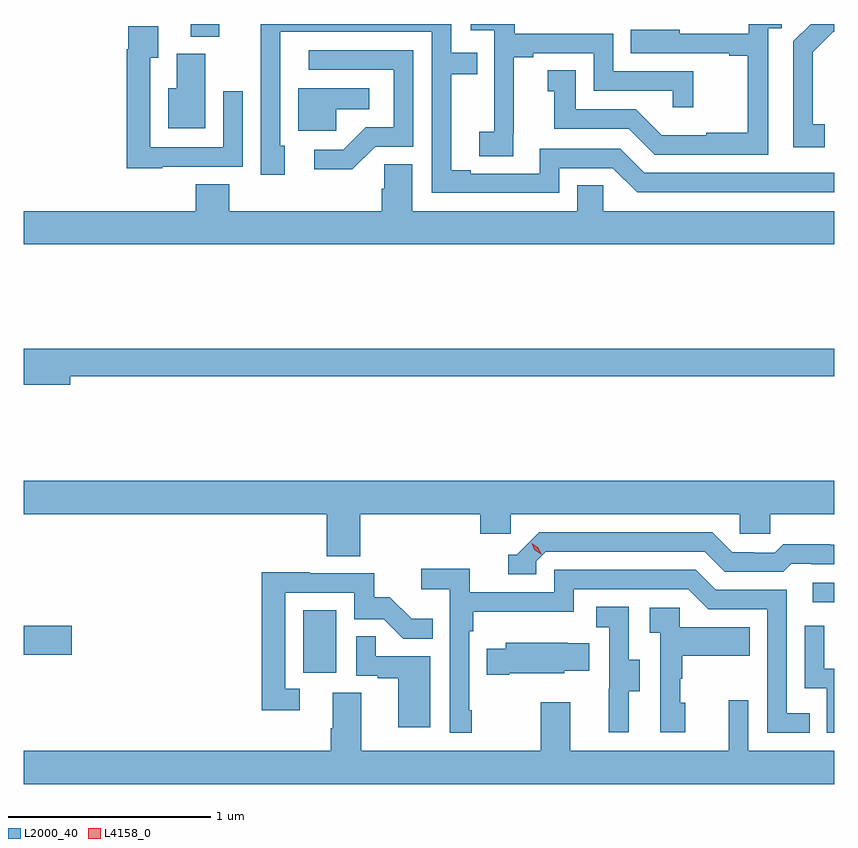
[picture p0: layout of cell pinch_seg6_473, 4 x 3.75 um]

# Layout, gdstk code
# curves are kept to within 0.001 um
import gdstk
lib = gdstk.Library(unit=1e-6, precision=1e-09)
def R(c, l, rs):  # rectangles x0, y0, x1, y1
    for r in rs: c.add(gdstk.rectangle(r[:2], r[2:], *l))
def P(c, l, *ps):  # polygons
    for p in ps: c.add(gdstk.Polygon(p, *l))
L2000_40 = (2000, 40)
L4158_0 = (4158, 0)

pinch_seg6_473 = lib.new_cell('pinch_seg6_473')
R(pinch_seg6_473, L2000_40, [(832.652,926.574,832.816,926.881), (831.273,926.662,831.511,926.804), (835.167,926.922,835.273,927.018), (832.097,929.713,832.237,929.775)])
P(pinch_seg6_473, L2000_40, [(833.916,929.064),(834.18,929.064),(834.3,928.944),(835.273,928.944),(835.273,929.04),(834.336,929.04),(834.216,929.16),(833.82,929.16),(833.82,929.037),(833.479,929.037),(833.479,929.052),(833.383,929.052),(833.383,929.526),(833.51,929.526),(833.51,929.634),(833.382,929.634),(833.382,929.775),(832.442,929.775),(832.443,929.031),(832.561,929.031),(832.561,929.175),(832.539,929.175),(832.539,929.736),(833.286,929.736),(833.286,928.941),(833.916,928.941)],
  [(833.69,929.233),(833.692,929.233),(833.692,929.611),(833.788,929.611),(833.788,929.631),(834.087,929.631),(834.087,929.445),(834.477,929.445),(834.477,929.364),(834.578,929.364),(834.578,929.541),(834.183,929.541),(834.183,929.727),(833.696,929.727),(833.696,929.775),(833.478,929.775),(833.478,929.745),(833.595,929.745),(833.595,929.441),(833.594,929.441),(833.594,929.244),(833.52,929.244),(833.52,929.122),(833.69,929.122)],
  [(835.226,929.279),(835.168,929.279),(835.168,929.635),(835.269,929.736),(835.273,929.736),(835.273,929.775),(835.156,929.775),(835.071,929.69),(835.071,929.166),(835.226,929.166)],
  [(834.948,929.753),(835.013,929.753),(835.013,929.775),(834.852,929.775),(834.852,929.727),(834.511,929.727),(834.511,929.746),(834.268,929.746),(834.268,929.631),(834.755,929.631),(834.755,929.619),(834.847,929.619),(834.847,929.239),(834.641,929.239),(834.641,929.227),(834.422,929.227),(834.294,929.355),(833.998,929.355),(833.998,929.546),(833.858,929.546),(833.858,929.443),(833.891,929.443),(833.891,929.259),(834.258,929.259),(834.387,929.13),(834.948,929.13)],
  [(831.957,929.07),(832.353,929.07),(832.353,929.443),(832.257,929.443),(832.257,929.166),(831.897,929.166),(831.897,929.608),(831.937,929.608),(831.937,929.764),(831.789,929.764),(831.789,929.651),(831.781,929.651),(831.781,929.063),(831.957,929.063)],
  [(833.007,929.169),(833.196,929.169),(833.196,929.646),(832.68,929.646),(832.68,929.55),(833.1,929.55),(833.1,929.265),(832.962,929.265),(832.851,929.154),(832.707,929.154),(832.707,929.057),(832.894,929.057)],
  [(832.168,929.628),(832.028,929.628),(832.028,929.458),(831.986,929.458),(831.986,929.261),(832.168,929.261)],
  [(832.815,929.354),(832.978,929.354),(832.978,929.458),(832.628,929.458),(832.628,929.247),(832.815,929.247)],
  [(835.273,928.852),(834.132,928.852),(834.132,928.979),(834.005,928.979),(834.005,928.852),(833.191,928.852),(833.191,929.084),(833.052,929.084),(833.052,928.961),(833.039,928.961),(833.039,928.852),(832.286,928.852),(832.286,928.985),(832.121,928.985),(832.121,928.852),(831.273,928.852),(831.273,928.688),(835.273,928.688)],
  [(831.502,928.036),(835.273,928.036),(835.273,928.172),(831.273,928.172),(831.273,927.994),(831.502,927.994)],
  [(832.934,927.356),(833.525,927.356),(833.525,927.258),(833.676,927.258),(833.676,927.356),(834.807,927.356),(834.807,927.258),(834.957,927.258),(834.957,927.356),(835.273,927.356),(835.273,927.52),(831.273,927.52),(831.273,927.356),(832.769,927.356),(832.769,927.148),(832.934,927.148)],
  [(833.802,927.123),(833.85,927.171),(834.633,927.171),(834.732,927.072),(835.021,927.072),(835.06,927.111),(835.159,927.111),(835.159,927.108),(835.273,927.108),(835.273,927.205),(835.254,927.205),(835.254,927.208),(835.021,927.208),(834.979,927.165),(834.876,927.165),(834.876,927.168),(834.769,927.168),(834.67,927.267),(833.817,927.267),(833.706,927.156),(833.663,927.156),(833.663,927.06),(833.802,927.06)],
  [(833.485,926.389),(833.472,926.389),(833.472,926.777),(833.492,926.777),(833.492,926.873),(833.988,926.873),(833.988,926.985),(834.552,926.985),(834.651,926.886),(834.942,926.886),(834.942,926.277),(835.151,926.277),(835.151,926.373),(835.038,926.373),(835.038,926.982),(834.688,926.982),(834.589,927.081),(833.892,927.081),(833.892,926.97),(833.474,926.97),(833.474,927.086),(833.235,927.086),(833.235,926.984),(833.376,926.984),(833.376,926.277),(833.485,926.277)],
  [(832.636,926.493),(832.563,926.493),(832.563,926.967),(832.905,926.967),(832.905,926.838),(833.049,926.838),(833.147,926.74),(833.291,926.74),(833.291,926.839),(833.187,926.839),(833.08,926.946),(833.004,926.946),(833.004,927.063),(832.685,927.063),(832.685,927.068),(832.447,927.068),(832.447,926.388),(832.636,926.388)],
  [(834.259,926.482),(834.313,926.482),(834.313,926.637),(834.258,926.637),(834.258,926.9),(834.099,926.9),(834.099,926.797),(834.162,926.797),(834.162,926.493),(834.161,926.493),(834.161,926.28),(834.259,926.28)],
  [(834.538,926.424),(834.513,926.424),(834.513,926.543),(834.523,926.543),(834.523,926.657),(834.857,926.657),(834.857,926.797),(834.51,926.797),(834.51,926.895),(834.363,926.895),(834.363,926.771),(834.414,926.771),(834.414,926.28),(834.538,926.28)],
  [(835.273,926.594),(835.224,926.594),(835.224,926.806),(835.128,926.806),(835.128,926.496),(835.236,926.496),(835.236,926.277),(835.273,926.277)],
  [(833.278,926.655),(833.009,926.655),(833.009,926.753),(832.914,926.753),(832.914,926.559),(833.021,926.559),(833.021,926.547),(833.12,926.547),(833.12,926.304),(833.278,926.304)],
  [(833.668,926.57),(833.94,926.57),(833.94,926.582),(834.065,926.582),(834.065,926.719),(833.957,926.719),(833.957,926.722),(833.651,926.722),(833.651,926.692),(833.557,926.692),(833.557,926.563),(833.668,926.563)],
  [(835.273,926.188),(834.849,926.188),(834.849,926.437),(834.752,926.437),(834.752,926.188),(833.971,926.188),(833.971,926.428),(833.824,926.428),(833.824,926.188),(832.939,926.188),(832.939,926.474),(832.799,926.474),(832.799,926.3),(832.787,926.3),(832.787,926.188),(831.273,926.188),(831.273,926.024),(835.273,926.024)])
P(pinch_seg6_473, L4158_0, [(833.827,927.158),(833.796,927.178),(833.781,927.211),(833.781,927.211),(833.781,927.211),(833.811,927.191),(833.827,927.158),(833.827,927.158)])

lib.write_gds('pinch_seg6_473.gds')
